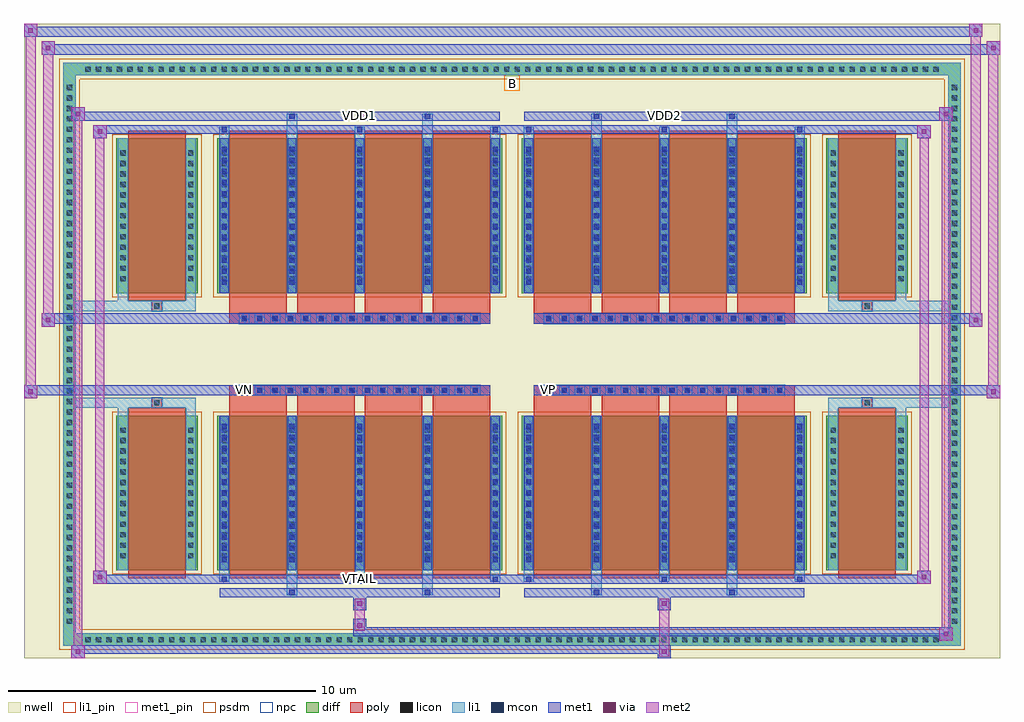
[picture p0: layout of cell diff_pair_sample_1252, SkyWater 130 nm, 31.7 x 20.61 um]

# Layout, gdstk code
import gdstk
lib = gdstk.Library(unit=1e-6, precision=5e-09)
def R(c, l, rs):  # rectangles x0, y0, x1, y1
    for r in rs: c.add(gdstk.rectangle(r[:2], r[2:], *l))
def A(c, l, x, y, w, h, nx, ny, dx, dy):  # array of equal rectangles
    R(c, l, [(x+i*dx, y+j*dy, x+i*dx+w, y+j*dy+h) for i in range(nx) for j in range(ny)])
def P(c, l, *ps):  # polygons
    for p in ps: c.add(gdstk.Polygon(p, *l))
nwell = (64, 20)
diff = (65, 20)
poly = (66, 20)
licon = (66, 44)
li1_pin = (67, 16)
li1 = (67, 20)
mcon = (67, 44)
met1_pin = (68, 16)
met1 = (68, 20)
via = (68, 44)
met2 = (69, 20)
psdm = (94, 20)
npc = (95, 20)

diff_pair_sample_1252 = lib.new_cell('diff_pair_sample_1252')
R(diff_pair_sample_1252, nwell, [(-15.85,-9.87,15.85,10.74), (-13.17,-8.06,-0.01,-0.8), (0.01,-8.06,13.17,-0.8), (-13.17,0.8,-0.01,8.06), (0.01,0.8,13.17,8.06)])
A(diff_pair_sample_1252, diff, -13.975, -9.47, 0.41, 0.41, 82, 2, 0.34, 18.53)
A(diff_pair_sample_1252, diff, -14.58, -8.875, 0.41, 0.41, 1, 52, 0, 0.34)
A(diff_pair_sample_1252, diff, 14.17, -8.875, 0.41, 0.41, 1, 52, 0, 0.34)
R(diff_pair_sample_1252, diff, [(-13.975,-9.47,13.975,-9.06), (-14.58,-8.875,-14.17,8.875), (14.17,-8.875,14.58,8.875), (-12.86,-7.015,-10.21,-1.985), (-9.57,-7.015,-0.32,-1.985), (0.32,-7.015,9.57,-1.985), (10.21,-7.015,12.86,-1.985), (-12.86,1.985,-10.21,7.015), (-9.57,1.985,-0.32,7.015), (0.32,1.985,9.57,7.015), (10.21,1.985,12.86,7.015), (-13.975,9.06,13.975,9.47)])
P(diff_pair_sample_1252, diff, [(14.58,9.47),(-14.58,9.47),(-14.58,-9.06),(-14.17,-9.06),(-14.17,9.06),(14.17,9.06),(14.17,-9.06),(-14.17,-9.06),(-14.58,-9.06),(-14.58,-9.47),(14.58,-9.47)])
A(diff_pair_sample_1252, poly, -9.18, -7.265, 1.87, 5.53, 4, 2, 2.2, 9)
A(diff_pair_sample_1252, poly, 0.71, -7.265, 1.87, 5.53, 4, 2, 2.2, 9)
A(diff_pair_sample_1252, poly, -9.18, -1.735, 1.87, 0.405, 4, 2, 2.2, 3.065)
A(diff_pair_sample_1252, poly, 0.71, -1.735, 1.87, 0.405, 4, 2, 2.2, 3.065)
A(diff_pair_sample_1252, poly, -8.86, -1.33, 0.33, 0.33, 16, 2, 0.5, 2.33)
A(diff_pair_sample_1252, poly, 1.03, -1.33, 0.33, 0.33, 16, 2, 0.5, 2.33)
R(diff_pair_sample_1252, poly, [(-12.47,-7.265,-10.6,-1.735), (10.6,-7.265,12.47,-1.735), (-11.7,-1.735,-11.37,-1.405), (-11.7,-1.735,-11.37,-1.405), (11.37,-1.735,11.7,-1.405), (11.37,-1.735,11.7,-1.405), (-9.18,-1.33,-0.71,-1), (0.71,-1.33,9.18,-1), (-9.18,1,-0.71,1.33), (0.71,1,9.18,1.33), (-11.7,1.405,-11.37,1.735), (-11.7,1.405,-11.37,1.735), (11.37,1.405,11.7,1.735), (11.37,1.405,11.7,1.735), (-12.47,1.735,-10.6,7.265), (10.6,1.735,12.47,7.265)])
A(diff_pair_sample_1252, licon, -13.855, -9.35, 0.17, 0.17, 82, 2, 0.34, 18.53)
A(diff_pair_sample_1252, licon, -14.46, -8.755, 0.17, 0.17, 1, 52, 0, 0.34)
A(diff_pair_sample_1252, licon, 14.29, -8.755, 0.17, 0.17, 1, 52, 0, 0.34)
A(diff_pair_sample_1252, licon, -12.72, -6.625, 0.17, 0.17, 1, 13, 0, 0.34)
A(diff_pair_sample_1252, licon, -10.52, -6.625, 0.17, 0.17, 1, 13, 0, 0.34)
A(diff_pair_sample_1252, licon, -9.43, -6.625, 0.17, 0.17, 5, 13, 2.2, 0.34)
A(diff_pair_sample_1252, licon, 0.46, -6.625, 0.17, 0.17, 5, 13, 2.2, 0.34)
A(diff_pair_sample_1252, licon, 10.35, -6.625, 0.17, 0.17, 1, 13, 0, 0.34)
A(diff_pair_sample_1252, licon, 12.55, -6.625, 0.17, 0.17, 1, 13, 0, 0.34)
A(diff_pair_sample_1252, licon, -8.78, -1.25, 0.17, 0.17, 16, 2, 0.5, 2.33)
A(diff_pair_sample_1252, licon, 1.11, -1.25, 0.17, 0.17, 16, 2, 0.5, 2.33)
A(diff_pair_sample_1252, licon, -12.72, 2.375, 0.17, 0.17, 1, 13, 0, 0.34)
A(diff_pair_sample_1252, licon, -10.52, 2.375, 0.17, 0.17, 1, 13, 0, 0.34)
A(diff_pair_sample_1252, licon, -9.43, 2.375, 0.17, 0.17, 5, 13, 2.2, 0.34)
A(diff_pair_sample_1252, licon, 0.46, 2.375, 0.17, 0.17, 5, 13, 2.2, 0.34)
A(diff_pair_sample_1252, licon, 10.35, 2.375, 0.17, 0.17, 1, 13, 0, 0.34)
A(diff_pair_sample_1252, licon, 12.55, 2.375, 0.17, 0.17, 1, 13, 0, 0.34)
R(diff_pair_sample_1252, licon, [(-11.62,-1.655,-11.45,-1.485), (11.45,-1.655,11.62,-1.485), (-11.62,1.485,-11.45,1.655), (11.45,1.485,11.62,1.655)])
R(diff_pair_sample_1252, li1_pin, [(-0.25,8.56,0.25,9.06)])
A(diff_pair_sample_1252, li1, -13.935, -9.43, 0.33, 0.33, 82, 2, 0.34, 18.53)
A(diff_pair_sample_1252, li1, -14.54, -8.835, 0.33, 0.33, 1, 52, 0, 0.34)
A(diff_pair_sample_1252, li1, 14.21, -8.835, 0.33, 0.33, 1, 52, 0, 0.34)
A(diff_pair_sample_1252, li1, -9.51, -7.39, 0.33, 0.375, 3, 2, 4.4, 14.405)
A(diff_pair_sample_1252, li1, -9.43, -7.39, 0.17, 0.17, 3, 2, 4.4, 14.61)
A(diff_pair_sample_1252, li1, 0.38, -7.39, 0.33, 0.375, 3, 2, 4.4, 14.405)
A(diff_pair_sample_1252, li1, 0.46, -7.39, 0.17, 0.17, 3, 2, 4.4, 14.61)
A(diff_pair_sample_1252, li1, -9.51, -7.015, 0.33, 5.03, 5, 2, 2.2, 9)
A(diff_pair_sample_1252, li1, 0.38, -7.015, 0.33, 5.03, 5, 2, 2.2, 9)
A(diff_pair_sample_1252, li1, -9.43, -6.745, 0.17, 0.17, 5, 13, 2.2, 0.36)
A(diff_pair_sample_1252, li1, -9.43, -6.745, 0.17, 4.49, 5, 2, 2.2, 9)
A(diff_pair_sample_1252, li1, 0.46, -6.745, 0.17, 0.17, 5, 13, 2.2, 0.36)
A(diff_pair_sample_1252, li1, 0.46, -6.745, 0.17, 4.49, 5, 2, 2.2, 9)
A(diff_pair_sample_1252, li1, -12.8, -6.705, 0.33, 0.33, 1, 13, 0, 0.34)
A(diff_pair_sample_1252, li1, -10.6, -6.705, 0.33, 0.33, 1, 13, 0, 0.34)
A(diff_pair_sample_1252, li1, -9.51, -6.705, 0.33, 0.33, 5, 13, 2.2, 0.34)
A(diff_pair_sample_1252, li1, 0.38, -6.705, 0.33, 0.33, 5, 13, 2.2, 0.34)
A(diff_pair_sample_1252, li1, 10.27, -6.705, 0.33, 0.33, 1, 13, 0, 0.34)
A(diff_pair_sample_1252, li1, 12.47, -6.705, 0.33, 0.33, 1, 13, 0, 0.34)
A(diff_pair_sample_1252, li1, -8.86, -1.33, 0.33, 0.33, 16, 2, 0.5, 2.33)
A(diff_pair_sample_1252, li1, 1.03, -1.33, 0.33, 0.33, 16, 2, 0.5, 2.33)
A(diff_pair_sample_1252, li1, -9.43, 2.255, 0.17, 0.17, 5, 13, 2.2, 0.36)
A(diff_pair_sample_1252, li1, 0.46, 2.255, 0.17, 0.17, 5, 13, 2.2, 0.36)
A(diff_pair_sample_1252, li1, -12.8, 2.295, 0.33, 0.33, 1, 13, 0, 0.34)
A(diff_pair_sample_1252, li1, -10.6, 2.295, 0.33, 0.33, 1, 13, 0, 0.34)
A(diff_pair_sample_1252, li1, -9.51, 2.295, 0.33, 0.33, 5, 13, 2.2, 0.34)
A(diff_pair_sample_1252, li1, 0.38, 2.295, 0.33, 0.33, 5, 13, 2.2, 0.34)
A(diff_pair_sample_1252, li1, 10.27, 2.295, 0.33, 0.33, 1, 13, 0, 0.34)
A(diff_pair_sample_1252, li1, 12.47, 2.295, 0.33, 0.33, 1, 13, 0, 0.34)
R(diff_pair_sample_1252, li1, [(-14.58,-9.47,-14.17,-9.06), (-14.58,-9.47,-14.17,-9.06), (-14.17,-9.47,14.17,-9.06), (14.17,-9.47,14.58,-9.06), (14.17,-9.47,14.58,-9.06), (-14.58,-9.06,-14.17,9.06), (14.17,-9.06,14.58,9.06), (-7.31,-7.82,-6.98,-7.015), (-7.23,-7.82,-7.06,-7.65), (-2.91,-7.82,-2.58,-7.015), (-2.83,-7.82,-2.66,-7.65), (2.58,-7.82,2.91,-7.015), (2.66,-7.82,2.83,-7.65), (6.98,-7.82,7.31,-7.015), (7.06,-7.82,7.23,-7.65), (-12.8,-7.015,-12.47,-1.985), (-10.6,-7.015,-10.27,-1.985), (10.27,-7.015,10.6,-1.985), (12.47,-7.015,12.8,-1.985), (-12.8,-1.985,-12.47,-1.405), (-10.6,-1.985,-10.27,-1.405), (10.27,-1.985,10.6,-1.405), (12.47,-1.985,12.8,-1.405), (-14.58,-1.735,-11.7,-1.405), (-12.8,-1.735,-11.7,-1.405), (-11.7,-1.735,-11.37,-1.405), (-11.37,-1.735,-10.27,-1.405), (10.27,-1.735,11.37,-1.405), (11.37,-1.735,11.7,-1.405), (11.37,-1.735,14.58,-1.405), (11.7,-1.735,12.8,-1.405), (-14.58,1.405,-11.7,1.735), (-12.8,1.405,-11.7,1.735), (-12.8,1.405,-12.47,1.985), (-11.7,1.405,-11.37,1.735), (-11.37,1.405,-10.27,1.735), (-10.6,1.405,-10.27,1.985), (10.27,1.405,11.37,1.735), (10.27,1.405,10.6,1.985), (11.37,1.405,11.7,1.735), (11.37,1.405,14.58,1.735), (11.7,1.405,12.8,1.735), (12.47,1.405,12.8,1.985), (-12.8,1.985,-12.47,7.015), (-10.6,1.985,-10.27,7.015), (10.27,1.985,10.6,7.015), (12.47,1.985,12.8,7.015), (-7.31,7.015,-6.98,7.82), (-2.91,7.015,-2.58,7.82), (2.58,7.015,2.91,7.82), (6.98,7.015,7.31,7.82), (-7.23,7.65,-7.06,7.82), (-2.83,7.65,-2.66,7.82), (2.66,7.65,2.83,7.82), (7.06,7.65,7.23,7.82), (-14.58,9.06,-14.17,9.47), (-14.58,9.06,-14.17,9.47), (-14.17,9.06,14.17,9.47), (14.17,9.06,14.58,9.47), (14.17,9.06,14.58,9.47)])
A(diff_pair_sample_1252, mcon, -9.43, -7.39, 0.17, 0.17, 3, 2, 4.4, 14.61)
A(diff_pair_sample_1252, mcon, 0.46, -7.39, 0.17, 0.17, 3, 2, 4.4, 14.61)
A(diff_pair_sample_1252, mcon, -9.43, -6.745, 0.17, 0.17, 5, 13, 2.2, 0.36)
A(diff_pair_sample_1252, mcon, 0.46, -6.745, 0.17, 0.17, 5, 13, 2.2, 0.36)
A(diff_pair_sample_1252, mcon, -8.78, -1.25, 0.17, 0.17, 16, 2, 0.5, 2.33)
A(diff_pair_sample_1252, mcon, 1.11, -1.25, 0.17, 0.17, 16, 2, 0.5, 2.33)
A(diff_pair_sample_1252, mcon, -9.43, 2.255, 0.17, 0.17, 5, 13, 2.2, 0.36)
A(diff_pair_sample_1252, mcon, 0.46, 2.255, 0.17, 0.17, 5, 13, 2.2, 0.36)
R(diff_pair_sample_1252, mcon, [(-7.23,-7.82,-7.06,-7.65), (-2.83,-7.82,-2.66,-7.65), (2.66,-7.82,2.83,-7.65), (7.06,-7.82,7.23,-7.65), (-7.23,7.65,-7.06,7.82), (-2.83,7.65,-2.66,7.82), (2.66,7.65,2.83,7.82), (7.06,7.65,7.23,7.82)])
R(diff_pair_sample_1252, met1_pin, [(-5.08,-7.43,-4.81,-7.16), (-8.83,-1.29,-8.56,-1.02), (1.06,-1.29,1.33,-1.02), (-5.08,7.61,-4.81,7.88), (4.81,7.61,5.08,7.88)])
A(diff_pair_sample_1252, met1, -9.49, -7.45, 0.29, 0.29, 3, 2, 4.4, 14.61)
A(diff_pair_sample_1252, met1, 0.4, -7.45, 0.29, 0.29, 3, 2, 4.4, 14.61)
A(diff_pair_sample_1252, met1, -9.49, -7.015, 0.29, 5.03, 5, 2, 2.2, 9)
A(diff_pair_sample_1252, met1, 0.4, -7.015, 0.29, 5.03, 5, 2, 2.2, 9)
A(diff_pair_sample_1252, met1, -9.49, -6.805, 0.29, 0.29, 5, 13, 2.2, 0.36)
A(diff_pair_sample_1252, met1, 0.4, -6.805, 0.29, 0.29, 5, 13, 2.2, 0.36)
A(diff_pair_sample_1252, met1, -8.84, -1.31, 0.29, 0.29, 16, 2, 0.5, 2.33)
A(diff_pair_sample_1252, met1, 1.05, -1.31, 0.29, 0.29, 16, 2, 0.5, 2.33)
A(diff_pair_sample_1252, met1, -9.49, 2.195, 0.29, 0.29, 5, 13, 2.2, 0.36)
A(diff_pair_sample_1252, met1, 0.4, 2.195, 0.29, 0.29, 5, 13, 2.2, 0.36)
R(diff_pair_sample_1252, met1, [(-14.31,-9.87,-13.88,-9.44), (4.73,-9.87,5.16,-9.44), (-14.31,-9.73,5.16,-9.44), (13.88,-9.3,14.31,-8.87), (-5.16,-9.16,14.31,-8.87), (-5.16,-9.02,-4.73,-8.59), (-5.16,-8.31,-4.73,-7.88), (4.73,-8.31,5.16,-7.88), (-9.49,-7.88,-0.4,-7.59), (-7.29,-7.88,-7,-7.59), (-2.89,-7.88,-2.6,-7.59), (0.4,-7.88,9.49,-7.59), (2.6,-7.88,2.89,-7.59), (7,-7.88,7.29,-7.59), (-13.6,-7.45,-13.17,-7.02), (-13.6,-7.45,-9.49,-7.16), (-9.49,-7.45,-0.4,-7.16), (-0.4,-7.45,0.4,-7.16), (0.4,-7.45,9.49,-7.16), (9.49,-7.45,13.6,-7.16), (13.17,-7.45,13.6,-7.02), (-15.85,-1.43,-15.42,-1), (15.42,-1.43,15.85,-1), (-15.85,-1.33,-0.71,-1), (-9.18,-1.33,-0.71,-1), (0.71,-1.33,9.18,-1), (0.71,-1.33,15.85,-1), (-15.28,0.9,-14.85,1.33), (14.85,0.9,15.28,1.33), (-15.28,1,-9.18,1.33), (-9.18,1,-0.71,1.33), (0.71,1,9.18,1.33), (9.18,1,15.28,1.33), (-13.6,7.02,-13.17,7.45), (13.17,7.02,13.6,7.45), (-13.6,7.16,-9.49,7.45), (-9.49,7.16,-0.4,7.45), (-0.4,7.16,0.4,7.45), (0.4,7.16,9.49,7.45), (9.49,7.16,13.6,7.45), (-14.31,7.59,-13.88,8.02), (-14.31,7.59,-9.49,7.88), (-9.49,7.59,-0.4,7.88), (-7.29,7.59,-7,7.88), (-2.89,7.59,-2.6,7.88), (0.4,7.59,9.49,7.88), (2.6,7.59,2.89,7.88), (7,7.59,7.29,7.88), (9.49,7.59,14.31,7.88), (13.88,7.59,14.31,8.02), (-15.28,9.74,-14.85,10.17), (-15.28,9.74,-13.17,10.07), (-13.17,9.74,13.17,10.07), (13.17,9.74,15.85,10.07), (15.42,9.74,15.85,10.17), (-15.85,10.31,-15.42,10.74), (-15.85,10.31,-13.17,10.64), (-13.17,10.31,13.17,10.64), (13.17,10.31,15.28,10.64), (14.85,10.31,15.28,10.74)])
R(diff_pair_sample_1252, via, [(-14.17,-9.73,-14.02,-9.58), (4.87,-9.73,5.02,-9.58), (14.02,-9.16,14.17,-9.01), (-5.02,-8.88,-4.87,-8.73), (-5.02,-8.17,-4.87,-8.02), (4.87,-8.17,5.02,-8.02), (-13.46,-7.31,-13.31,-7.16), (13.31,-7.31,13.46,-7.16), (-15.71,-1.29,-15.56,-1.14), (15.56,-1.29,15.71,-1.14), (-15.14,1.04,-14.99,1.19), (14.99,1.04,15.14,1.19), (-13.46,7.16,-13.31,7.31), (13.31,7.16,13.46,7.31), (-14.17,7.73,-14.02,7.88), (14.02,7.73,14.17,7.88), (-15.14,9.88,-14.99,10.03), (15.56,9.88,15.71,10.03), (-15.71,10.45,-15.56,10.6), (14.99,10.45,15.14,10.6)])
R(diff_pair_sample_1252, met2, [(-14.31,-9.87,-13.88,-9.44), (-14.24,-9.87,-13.95,8.02), (-13.95,-9.87,-13.88,-9.44), (-14.26,-9.82,-13.93,-9.49), (4.78,-9.82,5.11,-9.49), (4.78,-9.49,5.11,-8.26), (13.88,-9.3,14.31,-8.87), (13.95,-9.3,14.24,8.02), (14.24,-9.3,14.31,-8.87), (13.93,-9.25,14.26,-8.92), (-5.11,-8.97,-4.78,-8.64), (-5.11,-8.64,-4.78,-8.26), (-5.11,-8.26,-4.78,-7.93), (4.78,-8.26,5.11,-7.93), (-13.6,-7.45,-13.17,-7.02), (-13.53,-7.45,-13.24,7.45), (-13.24,-7.45,-13.17,-7.02), (13.17,-7.45,13.6,-7.02), (13.24,-7.45,13.53,7.45), (13.53,-7.45,13.6,-7.02), (-13.55,-7.4,-13.22,-7.07), (13.22,-7.4,13.55,-7.07), (-15.85,-1.43,-15.42,-1), (-15.8,-1.43,-15.47,10.74), (-15.47,-1.43,-15.42,-1), (15.42,-1.43,15.85,-1), (15.47,-1.43,15.8,10.17), (15.8,-1.43,15.85,-1), (-15.8,-1.38,-15.47,-1.05), (15.47,-1.38,15.8,-1.05), (-15.28,0.9,-14.85,1.33), (-15.23,0.9,-14.9,10.17), (-14.9,0.9,-14.85,1.33), (14.85,0.9,15.28,1.33), (14.9,0.9,15.23,10.74), (15.23,0.9,15.28,1.33), (-15.23,0.95,-14.9,1.28), (14.9,0.95,15.23,1.28), (-13.6,7.02,-13.17,7.45), (-13.24,7.02,-13.17,7.45), (13.17,7.02,13.6,7.45), (13.53,7.02,13.6,7.45), (-13.55,7.07,-13.22,7.4), (13.22,7.07,13.55,7.4), (-14.31,7.59,-13.88,8.02), (-13.95,7.59,-13.88,8.02), (13.88,7.59,14.31,8.02), (14.24,7.59,14.31,8.02), (-14.26,7.64,-13.93,7.97), (13.93,7.64,14.26,7.97), (-15.28,9.74,-14.85,10.17), (-14.9,9.74,-14.85,10.17), (15.42,9.74,15.85,10.17), (15.8,9.74,15.85,10.17), (-15.23,9.79,-14.9,10.12), (15.47,9.79,15.8,10.12), (-15.85,10.31,-15.42,10.74), (-15.47,10.31,-15.42,10.74), (14.85,10.31,15.28,10.74), (15.23,10.31,15.28,10.74), (-15.8,10.36,-15.47,10.69), (14.9,10.36,15.23,10.69)])
R(diff_pair_sample_1252, psdm, [(-12.99,-7.145,-10.08,-1.855), (-9.7,-7.145,-0.19,-1.855), (0.19,-7.145,9.7,-1.855), (10.08,-7.145,12.99,-1.855), (-12.99,1.855,-10.08,7.145), (-9.7,1.855,-0.19,7.145), (0.19,1.855,9.7,7.145), (10.08,1.855,12.99,7.145)])
P(diff_pair_sample_1252, psdm, [(14.71,9.6),(-14.71,9.6),(-14.71,-8.93),(-14.04,-8.93),(-14.04,8.93),(14.04,8.93),(14.04,-8.93),(-14.04,-8.93),(-14.71,-8.93),(-14.71,-9.6),(14.71,-9.6)])
A(diff_pair_sample_1252, npc, -8.88, -1.35, 0.37, 0.37, 16, 2, 0.5, 2.33)
A(diff_pair_sample_1252, npc, 1.01, -1.35, 0.37, 0.37, 16, 2, 0.5, 2.33)
R(diff_pair_sample_1252, npc, [(-11.72,-1.755,-11.35,-1.385), (11.35,-1.755,11.72,-1.385), (-8.88,-1.35,-8.01,-0.98), (-8.88,-1.35,-8.01,-0.98), (-8.38,-1.35,-7.51,-0.98), (-8.38,-1.35,-7.51,-0.98), (-7.88,-1.35,-7.01,-0.98), (-7.88,-1.35,-7.01,-0.98), (-7.38,-1.35,-6.51,-0.98), (-7.38,-1.35,-6.51,-0.98), (-6.88,-1.35,-6.01,-0.98), (-6.88,-1.35,-6.01,-0.98), (-6.38,-1.35,-5.51,-0.98), (-6.38,-1.35,-5.51,-0.98), (-5.88,-1.35,-5.01,-0.98), (-5.88,-1.35,-5.01,-0.98), (-5.38,-1.35,-4.51,-0.98), (-5.38,-1.35,-4.51,-0.98), (-4.88,-1.35,-4.01,-0.98), (-4.88,-1.35,-4.01,-0.98), (-4.38,-1.35,-3.51,-0.98), (-4.38,-1.35,-3.51,-0.98), (-3.88,-1.35,-3.01,-0.98), (-3.88,-1.35,-3.01,-0.98), (-3.38,-1.35,-2.51,-0.98), (-3.38,-1.35,-2.51,-0.98), (-2.88,-1.35,-2.01,-0.98), (-2.88,-1.35,-2.01,-0.98), (-2.38,-1.35,-1.51,-0.98), (-2.38,-1.35,-1.51,-0.98), (-1.88,-1.35,-1.01,-0.98), (-1.88,-1.35,-1.01,-0.98), (1.01,-1.35,1.88,-0.98), (1.01,-1.35,1.88,-0.98), (1.51,-1.35,2.38,-0.98), (1.51,-1.35,2.38,-0.98), (2.01,-1.35,2.88,-0.98), (2.01,-1.35,2.88,-0.98), (2.51,-1.35,3.38,-0.98), (2.51,-1.35,3.38,-0.98), (3.01,-1.35,3.88,-0.98), (3.01,-1.35,3.88,-0.98), (3.51,-1.35,4.38,-0.98), (3.51,-1.35,4.38,-0.98), (4.01,-1.35,4.88,-0.98), (4.01,-1.35,4.88,-0.98), (4.51,-1.35,5.38,-0.98), (4.51,-1.35,5.38,-0.98), (5.01,-1.35,5.88,-0.98), (5.01,-1.35,5.88,-0.98), (5.51,-1.35,6.38,-0.98), (5.51,-1.35,6.38,-0.98), (6.01,-1.35,6.88,-0.98), (6.01,-1.35,6.88,-0.98), (6.51,-1.35,7.38,-0.98), (6.51,-1.35,7.38,-0.98), (7.01,-1.35,7.88,-0.98), (7.01,-1.35,7.88,-0.98), (7.51,-1.35,8.38,-0.98), (7.51,-1.35,8.38,-0.98), (8.01,-1.35,8.88,-0.98), (8.01,-1.35,8.88,-0.98), (-8.88,0.98,-8.01,1.35), (-8.88,0.98,-8.01,1.35), (-8.38,0.98,-7.51,1.35), (-8.38,0.98,-7.51,1.35), (-7.88,0.98,-7.01,1.35), (-7.88,0.98,-7.01,1.35), (-7.38,0.98,-6.51,1.35), (-7.38,0.98,-6.51,1.35), (-6.88,0.98,-6.01,1.35), (-6.88,0.98,-6.01,1.35), (-6.38,0.98,-5.51,1.35), (-6.38,0.98,-5.51,1.35), (-5.88,0.98,-5.01,1.35), (-5.88,0.98,-5.01,1.35), (-5.38,0.98,-4.51,1.35), (-5.38,0.98,-4.51,1.35), (-4.88,0.98,-4.01,1.35), (-4.88,0.98,-4.01,1.35), (-4.38,0.98,-3.51,1.35), (-4.38,0.98,-3.51,1.35), (-3.88,0.98,-3.01,1.35), (-3.88,0.98,-3.01,1.35), (-3.38,0.98,-2.51,1.35), (-3.38,0.98,-2.51,1.35), (-2.88,0.98,-2.01,1.35), (-2.88,0.98,-2.01,1.35), (-2.38,0.98,-1.51,1.35), (-2.38,0.98,-1.51,1.35), (-1.88,0.98,-1.01,1.35), (-1.88,0.98,-1.01,1.35), (1.01,0.98,1.88,1.35), (1.01,0.98,1.88,1.35), (1.51,0.98,2.38,1.35), (1.51,0.98,2.38,1.35), (2.01,0.98,2.88,1.35), (2.01,0.98,2.88,1.35), (2.51,0.98,3.38,1.35), (2.51,0.98,3.38,1.35), (3.01,0.98,3.88,1.35), (3.01,0.98,3.88,1.35), (3.51,0.98,4.38,1.35), (3.51,0.98,4.38,1.35), (4.01,0.98,4.88,1.35), (4.01,0.98,4.88,1.35), (4.51,0.98,5.38,1.35), (4.51,0.98,5.38,1.35), (5.01,0.98,5.88,1.35), (5.01,0.98,5.88,1.35), (5.51,0.98,6.38,1.35), (5.51,0.98,6.38,1.35), (6.01,0.98,6.88,1.35), (6.01,0.98,6.88,1.35), (6.51,0.98,7.38,1.35), (6.51,0.98,7.38,1.35), (7.01,0.98,7.88,1.35), (7.01,0.98,7.88,1.35), (7.51,0.98,8.38,1.35), (7.51,0.98,8.38,1.35), (8.01,0.98,8.88,1.35), (8.01,0.98,8.88,1.35), (-11.72,1.385,-11.35,1.755), (11.35,1.385,11.72,1.755)])
diff_pair_sample_1252.add(gdstk.Label('VTAIL', (-4.945,-7.295), layer=68, texttype=5))
diff_pair_sample_1252.add(gdstk.Label('VN', (-8.695,-1.155), layer=68, texttype=5))
diff_pair_sample_1252.add(gdstk.Label('VP', (1.195,-1.155), layer=68, texttype=5))
diff_pair_sample_1252.add(gdstk.Label('B', (0,8.81), layer=67, texttype=5))
diff_pair_sample_1252.add(gdstk.Label('VDD2', (4.945,7.745), layer=68, texttype=5))
diff_pair_sample_1252.add(gdstk.Label('VDD1', (-4.945,7.745), layer=68, texttype=5))

lib.write_gds('diff_pair_sample_1252.gds')
